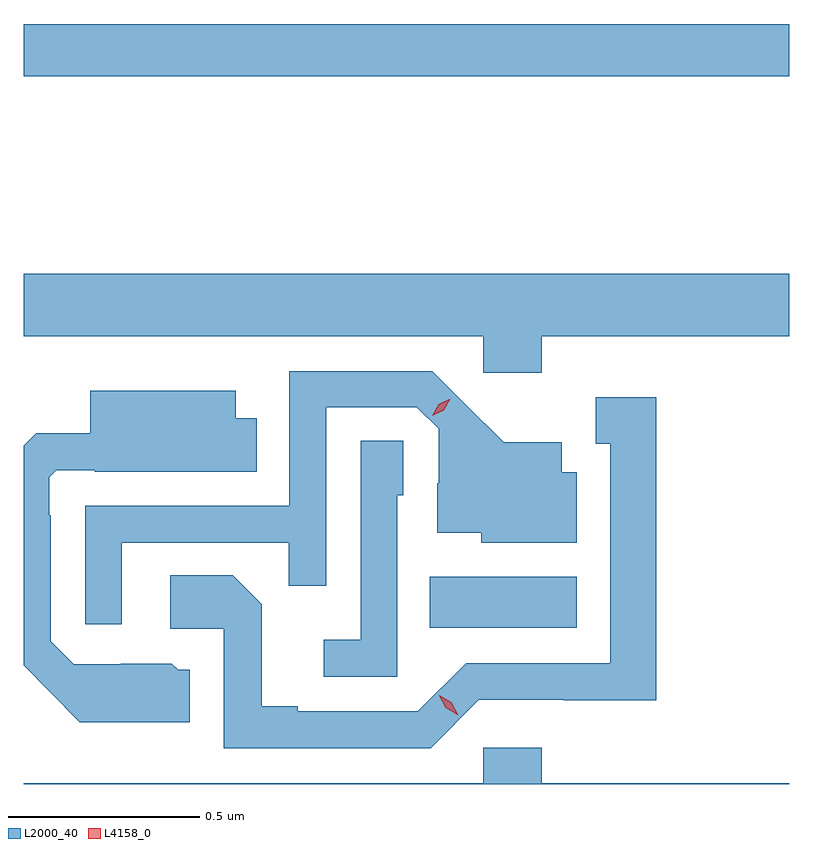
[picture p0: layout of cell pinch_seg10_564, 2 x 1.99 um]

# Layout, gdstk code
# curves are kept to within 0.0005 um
import gdstk
lib = gdstk.Library(unit=1e-6, precision=1e-09)
def R(c, l, rs):  # rectangles x0, y0, x1, y1
    for r in rs: c.add(gdstk.rectangle(r[:2], r[2:], *l))
def P(c, l, *ps):  # polygons
    for p in ps: c.add(gdstk.Polygon(p, *l))
L2000_40 = (2000, 40)
L4158_0 = (4158, 0)

pinch_seg10_564 = lib.new_cell('pinch_seg10_564')
R(pinch_seg10_564, L2000_40, [(223.282,1254.266,223.666,1254.4), (222.221,1255.708,224.221,1255.844)])
P(pinch_seg10_564, L2000_40, [(223.574,1255.028),(224.221,1255.028),(224.221,1255.192),(222.221,1255.192),(222.221,1255.028),(223.422,1255.028),(223.422,1254.933),(223.574,1254.933)],
  [(222.477,1254.489),(222.913,1254.489),(222.913,1254.376),(223.011,1254.376),(223.011,1254.843),(223.248,1254.843),(223.305,1254.786),(223.305,1254.644),(223.301,1254.644),(223.301,1254.515),(223.416,1254.515),(223.416,1254.488),(223.666,1254.488),(223.666,1254.672),(223.627,1254.672),(223.627,1254.751),(223.475,1254.751),(223.288,1254.936),(222.915,1254.936),(222.915,1254.585),(222.381,1254.585),(222.381,1254.276),(222.477,1254.276)],
  [(222.655,1254.156),(222.624,1254.156),(222.608,1254.172),(222.474,1254.172),(222.474,1254.171),(222.351,1254.171),(222.291,1254.231),(222.291,1254.56),(222.288,1254.56),(222.288,1254.66),(222.306,1254.678),(222.406,1254.678),(222.406,1254.674),(222.83,1254.674),(222.83,1254.814),(222.775,1254.814),(222.775,1254.886),(222.395,1254.886),(222.395,1254.775),(222.254,1254.775),(222.221,1254.742),(222.221,1254.168),(222.367,1254.02),(222.655,1254.02)],
  [(223.41,1254.078),(223.632,1254.078),(223.632,1254.077),(223.873,1254.077),(223.873,1254.868),(223.715,1254.868),(223.715,1254.747),(223.754,1254.747),(223.754,1254.174),(223.377,1254.174),(223.251,1254.048),(222.937,1254.048),(222.937,1254.061),(222.843,1254.061),(222.843,1254.328),(222.767,1254.404),(222.603,1254.404),(222.603,1254.264),(222.744,1254.264),(222.744,1253.952),(223.284,1253.952)],
  [(223.197,1254.612),(223.212,1254.612),(223.212,1254.755),(223.101,1254.755),(223.101,1254.235),(223.005,1254.235),(223.005,1254.138),(223.197,1254.138)],
  [(224.221,1253.86),(223.574,1253.86),(223.574,1253.953),(223.422,1253.953),(223.422,1253.86),(222.221,1253.86),(222.221,1253.858),(224.221,1253.858)])
P(pinch_seg10_564, L4158_0, [(223.356,1254.038),(223.324,1254.057),(223.306,1254.089),(223.306,1254.09),(223.306,1254.09),(223.338,1254.071),(223.356,1254.038),(223.356,1254.038)],
  [(223.288,1254.82),(223.288,1254.82),(223.305,1254.85),(223.335,1254.865),(223.335,1254.865),(223.335,1254.865),(223.318,1254.835),(223.288,1254.82)])

lib.write_gds('pinch_seg10_564.gds')
